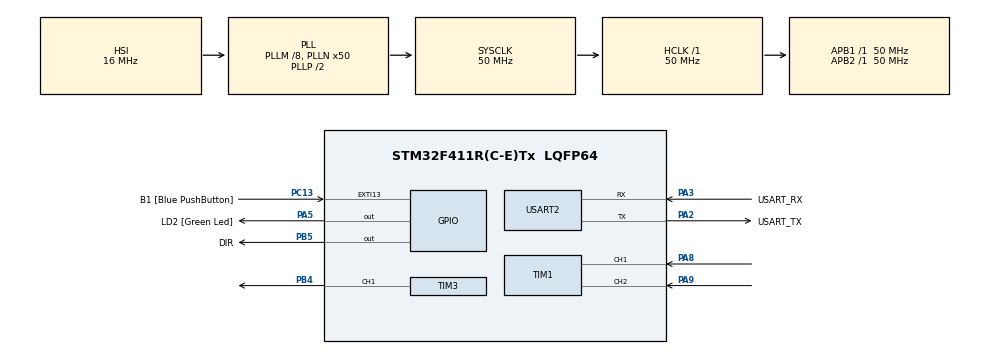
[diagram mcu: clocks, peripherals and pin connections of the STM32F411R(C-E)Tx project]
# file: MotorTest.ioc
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Mcu.Family=STM32F4
Mcu.Name=STM32F411R(C-E)Tx
Mcu.Package=LQFP64
NVIC.PriorityGroup=NVIC_PRIORITYGROUP_0
PA13.GPIO_Label=TMS
PA13.Mode=Trace_Asynchronous_SW
PA13.Signal=SYS_JTMS-SWDIO
PA14.GPIO_Label=TCK
PA14.Mode=Trace_Asynchronous_SW
PA14.Signal=SYS_JTCK-SWCLK
PA2.GPIO_Label=USART_TX
PA2.Mode=Asynchronous
PA2.Signal=USART2_TX
PA3.GPIO_Label=USART_RX
PA3.Mode=Asynchronous
PA3.Signal=USART2_RX
PA5.GPIO_Label=LD2 [Green Led]
PA5.Signal=GPIO_Output
PA8.Signal=S_TIM1_CH1
PA9.Signal=S_TIM1_CH2
PB3.GPIO_Label=SWO
PB3.Mode=Trace_Asynchronous_SW
PB3.Signal=SYS_JTDO-SWO
PB4.Signal=S_TIM3_CH1
PB5.GPIO_Label=DIR
PB5.Signal=GPIO_Output
PC13-ANTI_TAMP.GPIO_Label=B1 [Blue PushButton]
PC13-ANTI_TAMP.GPIO_ModeDefaultEXTI=GPIO_MODE_IT_FALLING
PC13-ANTI_TAMP.Signal=GPXTI13
PC14-OSC32_IN.Mode=LSE-External-Oscillator
PC14-OSC32_IN.Signal=RCC_OSC32_IN
PC15-OSC32_OUT.Mode=LSE-External-Oscillator
PC15-OSC32_OUT.Signal=RCC_OSC32_OUT
PH0\ -\ OSC_IN.Mode=HSE-External-Clock-Source
PH0\ -\ OSC_IN.Signal=RCC_OSC_IN
PH1\ -\ OSC_OUT.Mode=HSE-External-Clock-Source
PH1\ -\ OSC_OUT.Signal=RCC_OSC_OUT
ProjectManager.HeapSize=0x200
ProjectManager.StackSize=0x400
ProjectManager.TargetToolchain=STM32CubeIDE
RCC.48MHZClocksFreq_Value=25000000
RCC.AHBFreq_Value=50000000
RCC.APB1Freq_Value=50000000
RCC.APB1TimFreq_Value=50000000
RCC.APB2Freq_Value=50000000
RCC.APB2TimFreq_Value=50000000
RCC.CortexFreq_Value=50000000
RCC.FLatency-AdvancedSettings=FLASH_LATENCY_1
RCC.HCLKFreq_Value=50000000
RCC.HSE_VALUE=8000000
RCC.HSI_VALUE=16000000
RCC.PLLM=8
RCC.PLLN=50
RCC.SYSCLKFreq_VALUE=50000000
RCC.SYSCLKSource=RCC_SYSCLKSOURCE_PLLCLK
RCC.VCOOutputFreq_Value=100000000
SH.S_TIM1_CH1.0=TIM1_CH1,Encoder_Interface
SH.S_TIM1_CH2.0=TIM1_CH2,Encoder_Interface
SH.S_TIM3_CH1.0=TIM3_CH1,PWM Generation1 CH1
TIM3.Channel-PWM\ Generation1\ CH1=TIM_CHANNEL_1
TIM3.Period=100-1
TIM3.Prescaler=25-1
TIM3.Pulse-PWM\ Generation1\ CH1=95
USART2.VirtualMode=VM_ASYNC
board=NUCLEO-F411RE

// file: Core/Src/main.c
/* USER CODE BEGIN Header */
/**
  ******************************************************************************
  * @file           : main.c
  * @brief          : Main program body
  ******************************************************************************
  * @attention
  *
  * Copyright (c) 2022 STMicroelectronics.
  * All rights reserved.
  *
  * This software is licensed under terms that can be found in the LICENSE file
  * in the root directory of this software component.
  * If no LICENSE file comes with this software, it is provided AS-IS.
  *
  ******************************************************************************
  */
/* USER CODE END Header */
#include "main.h"

TIM_HandleTypeDef htim1;
TIM_HandleTypeDef htim3;

UART_HandleTypeDef huart2;

void SystemClock_Config(void);
static void MX_GPIO_Init(void);
static void MX_USART2_UART_Init(void);
static void MX_TIM3_Init(void);
static void MX_TIM1_Init(void);

/* USER CODE BEGIN 0 */
int __io_putchar(int ch)
{
 // Write character to ITM ch.0
 ITM_SendChar(ch);
 return(ch);
}
/* USER CODE END 0 */

int main(void)
{

  /* MCU Configuration--------------------------------------------------------*/

  /* Reset of all peripherals, Initializes the Flash interface and the Systick. */
  HAL_Init();

  /* Configure the system clock */
  SystemClock_Config();

  /* Initialize all configured peripherals */
  MX_GPIO_Init();
  MX_USART2_UART_Init();
  MX_TIM3_Init();
  MX_TIM1_Init();
  /* USER CODE BEGIN 2 */

  HAL_TIM_PWM_Start(&htim3, TIM_CHANNEL_1);
  HAL_TIM_Encoder_Start(&htim1, TIM_CHANNEL_ALL);

  uint32_t pulse = TIM3->CCR1;
  uint32_t startTime = HAL_GetTick();
  uint32_t currentTime = HAL_GetTick() - startTime;
  double speedFactor = 0;

  HAL_GPIO_WritePin(DIR_GPIO_Port, DIR_Pin, GPIO_PIN_SET);
  /* USER CODE END 2 */

  /* Infinite loop */
  while (1)
  {

    /* USER CODE BEGIN 3 */
	  currentTime = HAL_GetTick() - startTime;
	  speedFactor = sin(currentTime/1000.0);

	  //HAL_GPIO_TogglePin (LD2_GPIO_Port, LD2_Pin);

	  //printf("Test\n");

	  pulse = floor(100.0-100.0*fabs(speedFactor));
	  TIM3->CCR1 = pulse;
	  printf("%d\n", TIM1->CNT);
	  //printf("%d\n", currentTime);
	  //printf("%f\n", speedFactor);
	  //printf("%d\n\n", pulse);
	  //HAL_Delay (100);
  }
  /* USER CODE END 3 */
}

void SystemClock_Config(void)
{
  RCC_OscInitTypeDef RCC_OscInitStruct = {0};
  RCC_ClkInitTypeDef RCC_ClkInitStruct = {0};

  /** Configure the main internal regulator output voltage
  */
  __HAL_RCC_PWR_CLK_ENABLE();
  __HAL_PWR_VOLTAGESCALING_CONFIG(PWR_REGULATOR_VOLTAGE_SCALE1);
  /** Initializes the RCC Oscillators according to the specified parameters
  * in the RCC_OscInitTypeDef structure.
  */
  RCC_OscInitStruct.OscillatorType = RCC_OSCILLATORTYPE_HSI;
  RCC_OscInitStruct.HSIState = RCC_HSI_ON;
  RCC_OscInitStruct.HSICalibrationValue = RCC_HSICALIBRATION_DEFAULT;
  RCC_OscInitStruct.PLL.PLLState = RCC_PLL_ON;
  RCC_OscInitStruct.PLL.PLLSource = RCC_PLLSOURCE_HSI;
  RCC_OscInitStruct.PLL.PLLM = 8;
  RCC_OscInitStruct.PLL.PLLN = 50;
  RCC_OscInitStruct.PLL.PLLP = RCC_PLLP_DIV2;
  RCC_OscInitStruct.PLL.PLLQ = 4;
  if (HAL_RCC_OscConfig(&RCC_OscInitStruct) != HAL_OK)
  {
    Error_Handler();
  }
  /** Initializes the CPU, AHB and APB buses clocks
  */
  RCC_ClkInitStruct.ClockType = RCC_CLOCKTYPE_HCLK|RCC_CLOCKTYPE_SYSCLK
                              |RCC_CLOCKTYPE_PCLK1|RCC_CLOCKTYPE_PCLK2;
  RCC_ClkInitStruct.SYSCLKSource = RCC_SYSCLKSOURCE_PLLCLK;
  RCC_ClkInitStruct.AHBCLKDivider = RCC_SYSCLK_DIV1;
  RCC_ClkInitStruct.APB1CLKDivider = RCC_HCLK_DIV1;
  RCC_ClkInitStruct.APB2CLKDivider = RCC_HCLK_DIV1;

  if (HAL_RCC_ClockConfig(&RCC_ClkInitStruct, FLASH_LATENCY_1) != HAL_OK)
  {
    Error_Handler();
  }
}

static void MX_TIM1_Init(void)
{

  TIM_Encoder_InitTypeDef sConfig = {0};
  TIM_MasterConfigTypeDef sMasterConfig = {0};

  htim1.Instance = TIM1;
  htim1.Init.Prescaler = 0;
  htim1.Init.CounterMode = TIM_COUNTERMODE_UP;
  htim1.Init.Period = 65535;
  htim1.Init.ClockDivision = TIM_CLOCKDIVISION_DIV1;
  htim1.Init.RepetitionCounter = 0;
  htim1.Init.AutoReloadPreload = TIM_AUTORELOAD_PRELOAD_DISABLE;
  sConfig.EncoderMode = TIM_ENCODERMODE_TI1;
  sConfig.IC1Polarity = TIM_ICPOLARITY_RISING;
  sConfig.IC1Selection = TIM_ICSELECTION_DIRECTTI;
  sConfig.IC1Prescaler = TIM_ICPSC_DIV1;
  sConfig.IC1Filter = 0;
  sConfig.IC2Polarity = TIM_ICPOLARITY_RISING;
  sConfig.IC2Selection = TIM_ICSELECTION_DIRECTTI;
  sConfig.IC2Prescaler = TIM_ICPSC_DIV1;
  sConfig.IC2Filter = 0;
  if (HAL_TIM_Encoder_Init(&htim1, &sConfig) != HAL_OK)
  {
    Error_Handler();
  }
  sMasterConfig.MasterOutputTrigger = TIM_TRGO_RESET;
  sMasterConfig.MasterSlaveMode = TIM_MASTERSLAVEMODE_DISABLE;
  if (HAL_TIMEx_MasterConfigSynchronization(&htim1, &sMasterConfig) != HAL_OK)
  {
    Error_Handler();
  }

}

static void MX_TIM3_Init(void)
{

  TIM_MasterConfigTypeDef sMasterConfig = {0};
  TIM_OC_InitTypeDef sConfigOC = {0};

  htim3.Instance = TIM3;
  htim3.Init.Prescaler = 25-1;
  htim3.Init.CounterMode = TIM_COUNTERMODE_UP;
  htim3.Init.Period = 100-1;
  htim3.Init.ClockDivision = TIM_CLOCKDIVISION_DIV1;
  htim3.Init.AutoReloadPreload = TIM_AUTORELOAD_PRELOAD_DISABLE;
  if (HAL_TIM_PWM_Init(&htim3) != HAL_OK)
  {
    Error_Handler();
  }
  sMasterConfig.MasterOutputTrigger = TIM_TRGO_RESET;
  sMasterConfig.MasterSlaveMode = TIM_MASTERSLAVEMODE_DISABLE;
  if (HAL_TIMEx_MasterConfigSynchronization(&htim3, &sMasterConfig) != HAL_OK)
  {
    Error_Handler();
  }
  sConfigOC.OCMode = TIM_OCMODE_PWM1;
  sConfigOC.Pulse = 95;
  sConfigOC.OCPolarity = TIM_OCPOLARITY_HIGH;
  sConfigOC.OCFastMode = TIM_OCFAST_DISABLE;
  if (HAL_TIM_PWM_ConfigChannel(&htim3, &sConfigOC, TIM_CHANNEL_1) != HAL_OK)
  {
    Error_Handler();
  }
  HAL_TIM_MspPostInit(&htim3);

}

static void MX_USART2_UART_Init(void)
{

  huart2.Instance = USART2;
  huart2.Init.BaudRate = 115200;
  huart2.Init.WordLength = UART_WORDLENGTH_8B;
  huart2.Init.StopBits = UART_STOPBITS_1;
  huart2.Init.Parity = UART_PARITY_NONE;
  huart2.Init.Mode = UART_MODE_TX_RX;
  huart2.Init.HwFlowCtl = UART_HWCONTROL_NONE;
  huart2.Init.OverSampling = UART_OVERSAMPLING_16;
  if (HAL_UART_Init(&huart2) != HAL_OK)
  {
    Error_Handler();
  }

}

static void MX_GPIO_Init(void)
{
  GPIO_InitTypeDef GPIO_InitStruct = {0};

  /* GPIO Ports Clock Enable */
  __HAL_RCC_GPIOC_CLK_ENABLE();
  __HAL_RCC_GPIOH_CLK_ENABLE();
  __HAL_RCC_GPIOA_CLK_ENABLE();
  __HAL_RCC_GPIOB_CLK_ENABLE();

  /*Configure GPIO pin Output Level */
  HAL_GPIO_WritePin(LD2_GPIO_Port, LD2_Pin, GPIO_PIN_RESET);

  /*Configure GPIO pin Output Level */
  HAL_GPIO_WritePin(DIR_GPIO_Port, DIR_Pin, GPIO_PIN_RESET);

  /*Configure GPIO pin : B1_Pin */
  GPIO_InitStruct.Pin = B1_Pin;
  GPIO_InitStruct.Mode = GPIO_MODE_IT_FALLING;
  GPIO_InitStruct.Pull = GPIO_NOPULL;
  HAL_GPIO_Init(B1_GPIO_Port, &GPIO_InitStruct);

  /*Configure GPIO pin : LD2_Pin */
  GPIO_InitStruct.Pin = LD2_Pin;
  GPIO_InitStruct.Mode = GPIO_MODE_OUTPUT_PP;
  GPIO_InitStruct.Pull = GPIO_NOPULL;
  GPIO_InitStruct.Speed = GPIO_SPEED_FREQ_LOW;
  HAL_GPIO_Init(LD2_GPIO_Port, &GPIO_InitStruct);

  /*Configure GPIO pin : DIR_Pin */
  GPIO_InitStruct.Pin = DIR_Pin;
  GPIO_InitStruct.Mode = GPIO_MODE_OUTPUT_PP;
  GPIO_InitStruct.Pull = GPIO_NOPULL;
  GPIO_InitStruct.Speed = GPIO_SPEED_FREQ_LOW;
  HAL_GPIO_Init(DIR_GPIO_Port, &GPIO_InitStruct);

}

void Error_Handler(void)
{
  __disable_irq();
  while (1)
  {
  }
}
